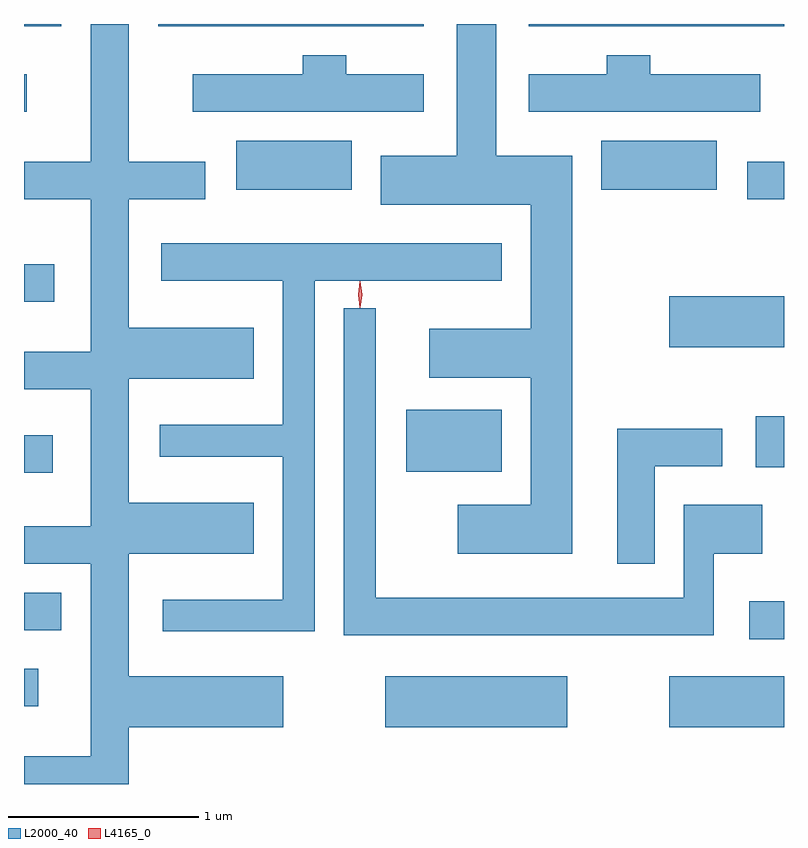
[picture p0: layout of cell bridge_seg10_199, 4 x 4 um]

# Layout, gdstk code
import gdstk
lib = gdstk.Library(unit=1e-6, precision=1e-09)
def R(c, l, rs):  # rectangles x0, y0, x1, y1
    for r in rs: c.add(gdstk.rectangle(r[:2], r[2:], *l))
def P(c, l, *ps):  # polygons
    for p in ps: c.add(gdstk.Polygon(p, *l))
L2000_40 = (2000, 40)
L4165_0 = (4165, 0)

bridge_seg10_199 = lib.new_cell('bridge_seg10_199')
R(bridge_seg10_199, L2000_40, [(1704.461,2139.966,1705.419,2140.234), (1705.956,2139.966,1706.559,2140.234), (1702.559,2140.076,1702.634,2140.274), (1706.376,2140.431,1706.559,2140.629), (1702.559,2140.476,1702.754,2140.674), (1702.559,2141.306,1702.709,2141.504), (1704.571,2141.311,1705.074,2141.639), (1706.411,2141.336,1706.559,2141.604), (1705.956,2141.966,1706.559,2142.234), (1702.559,2142.206,1702.719,2142.404), (1706.366,2142.746,1706.559,2142.944), (1703.676,2142.796,1704.284,2143.054), (1705.596,2142.796,1706.204,2143.054), (1702.559,2143.206,1702.574,2143.404), (1702.559,2143.656,1702.754,2143.668), (1703.266,2143.656,1704.664,2143.668), (1705.216,2143.656,1706.559,2143.668)])
P(bridge_seg10_199, L2000_40, [(1702.559,2141.944),(1702.559,2141.746),(1702.911,2141.746),(1702.911,2141.024),(1702.559,2141.024),(1702.559,2140.826),(1702.911,2140.826),(1702.911,2139.814),(1702.559,2139.814),(1702.559,2139.668),(1703.109,2139.668),(1703.109,2139.966),(1703.924,2139.966),(1703.924,2140.234),(1703.109,2140.234),(1703.109,2140.881),(1703.769,2140.881),(1703.769,2141.149),(1703.109,2141.149),(1703.109,2141.801),(1703.769,2141.801),(1703.769,2142.069),(1703.109,2142.069),(1703.109,2142.746),(1703.514,2142.746),(1703.514,2142.944),(1703.109,2142.944),(1703.109,2143.668),(1702.911,2143.668),(1702.911,2142.944),(1702.559,2142.944),(1702.559,2142.746),(1702.911,2142.746),(1702.911,2141.944)],
  [(1705.444,2142.974),(1705.044,2142.974),(1705.044,2143.668),(1704.836,2143.668),(1704.836,2142.974),(1704.436,2142.974),(1704.436,2142.716),(1705.226,2142.716),(1705.226,2142.064),(1704.691,2142.064),(1704.691,2141.806),(1705.226,2141.806),(1705.226,2141.139),(1704.841,2141.139),(1704.841,2140.881),(1705.444,2140.881)],
  [(1706.434,2143.404),(1705.854,2143.404),(1705.854,2143.504),(1705.626,2143.504),(1705.626,2143.404),(1705.216,2143.404),(1705.216,2143.206),(1706.434,2143.206)],
  [(1704.664,2143.404),(1704.254,2143.404),(1704.254,2143.504),(1704.026,2143.504),(1704.026,2143.404),(1703.446,2143.404),(1703.446,2143.206),(1704.664,2143.206)],
  [(1704.089,2142.316),(1705.074,2142.316),(1705.074,2142.514),(1703.281,2142.514),(1703.281,2142.316),(1703.921,2142.316),(1703.921,2141.559),(1703.273,2141.559),(1703.273,2141.391),(1703.921,2141.391),(1703.921,2140.639),(1703.288,2140.639),(1703.288,2140.471),(1704.089,2140.471)],
  [(1706.189,2140.881),(1706.444,2140.881),(1706.444,2141.139),(1706.031,2141.139),(1706.031,2140.649),(1704.409,2140.649),(1704.409,2142.173),(1704.241,2142.173),(1704.241,2140.451),(1706.189,2140.451)],
  [(1705.879,2141.341),(1706.234,2141.341),(1706.234,2141.539),(1705.681,2141.539),(1705.681,2140.826),(1705.879,2140.826)])
P(bridge_seg10_199, L4165_0, [(1704.328,2142.174),(1704.327,2142.175),(1704.318,2142.244),(1704.327,2142.313),(1704.328,2142.314),(1704.328,2142.313),(1704.338,2142.244),(1704.328,2142.175)],
  [(1704.327,2142.178),(1704.318,2142.244),(1704.327,2142.311),(1704.328,2142.311),(1704.328,2142.311),(1704.338,2142.244),(1704.328,2142.178),(1704.328,2142.178)])

lib.write_gds('bridge_seg10_199.gds')
